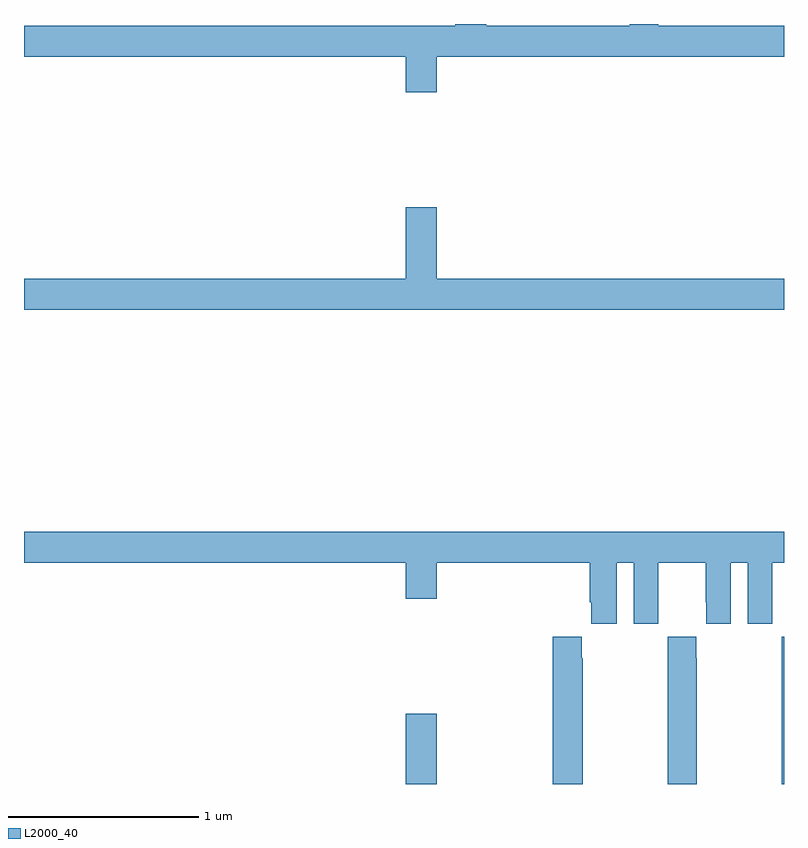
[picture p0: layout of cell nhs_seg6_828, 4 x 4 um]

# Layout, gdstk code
import gdstk
lib = gdstk.Library(unit=1e-6, precision=1e-09)
def R(c, l, rs):  # rectangles x0, y0, x1, y1
    for r in rs: c.add(gdstk.rectangle(r[:2], r[2:], *l))
def P(c, l, *ps):  # polygons
    for p in ps: c.add(gdstk.Polygon(p, *l))
L2000_40 = (2000, 40)

nhs_seg6_828 = lib.new_cell('nhs_seg6_828')
R(nhs_seg6_828, L2000_40, [(165.008,951.5,165.172,951.871)])
P(nhs_seg6_828, L2000_40, [(165.172,955.328),(167,955.328),(167,955.492),(166.339,955.492),(166.339,955.5),(166.187,955.5),(166.187,955.492),(165.434,955.492),(165.434,955.5),(165.269,955.5),(165.269,955.492),(163,955.492),(163,955.328),(165.008,955.328),(165.008,955.14),(165.172,955.14)],
  [(167,954.16),(165.172,954.16),(165.172,954.535),(165.008,954.535),(165.008,954.16),(163,954.16),(163,953.996),(167,953.996)],
  [(166.12,952.664),(166.208,952.664),(166.208,952.344),(166.338,952.344),(166.338,952.456),(166.339,952.456),(166.339,952.664),(166.589,952.664),(166.589,952.456),(166.59,952.456),(166.59,952.344),(166.72,952.344),(166.72,952.664),(166.808,952.664),(166.808,952.344),(166.938,952.344),(166.938,952.456),(166.939,952.456),(166.939,952.664),(167,952.664),(167,952.828),(163,952.828),(163,952.664),(165.008,952.664),(165.008,952.476),(165.172,952.476),(165.172,952.664),(165.977,952.664),(165.977,952.456),(165.986,952.456),(165.986,952.344),(166.12,952.344)],
  [(166.542,952.163),(166.539,952.163),(166.539,952.276),(166.389,952.276),(166.389,952.163),(166.387,952.163),(166.387,951.5),(166.542,951.5)],
  [(167,952.276),(166.989,952.276),(166.989,952.163),(166.987,952.163),(166.987,951.5),(167,951.5)],
  [(165.942,952.163),(165.935,952.163),(165.935,952.276),(165.782,952.276),(165.782,951.5),(165.942,951.5)])

lib.write_gds('nhs_seg6_828.gds')
